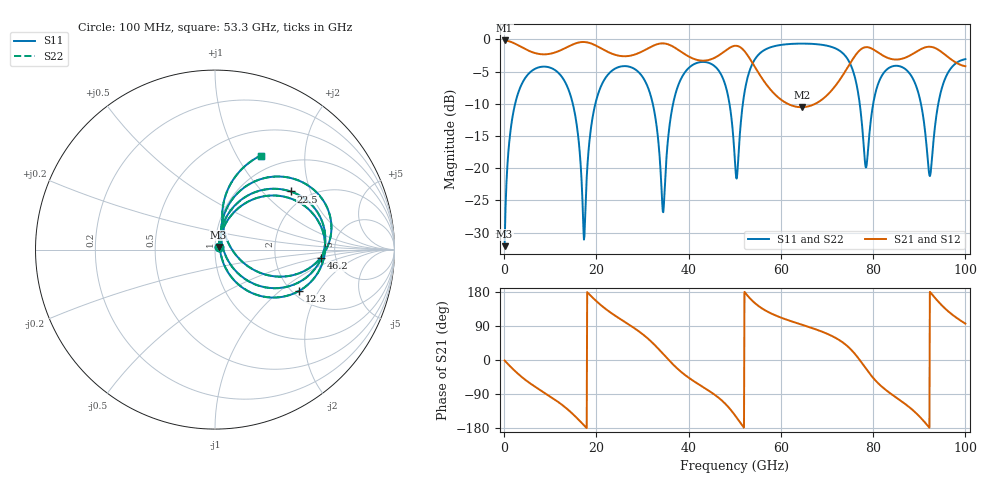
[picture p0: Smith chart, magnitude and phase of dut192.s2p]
! Touchstone file exported from HFSS 2026.1.0
!  File:  C:/ffzhzh/LocalFiles/Ansys_Project_Files/temp_test_TSV_RDL_192_1783478748_33644.aedt
!  Generated:  10:55:14 AM Jul  8, 2026
!  Design:  TSV_RDL
!  Project:  temp_test_TSV_RDL_192_1783478748_33644
! Variables:
!  h_bsmrdl = 4.98um
!  h_ox = 20um
!  h_rdl = 5um
!  h_sub = 65.85um
!  h_tmrdl = 3.84um
!  h_tsv = 65.85um
!  h_via = 3um
!  l_bsmrdl = 271.05um
!  l_sub = 3326.94um
!  l_tmrdl = 506.45um
!  m_sub = 200um
!  pitch = 52.58um
!  r_tsv = 11.38um
!  s_tmrdl = 10um
!  w_bsmrdl = 17.28um
!  w_sub = 500um
!  w_tmrdl = 12.05um
!  x_tsv_center1 = 512.475um
!  x_tsv_center2 = 800.805um
!  x_tsv_center3 = 1319.305um
!  x_tsv_center4 = 1607.635um
!  x_tsv_center5 = 2126.135um
!  x_tsv_center6 = 2414.465um
# GHz S MA R 50.000000
! Terminal data exported
! Port[1] = TM_RDL1_1_T1
! Port[2] = TM_RDL5_1_T1
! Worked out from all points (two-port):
!   1000 points, 100 MHz to 100 GHz, reference 50 ohm
!   highest |S21| = -0.17 dB at 100 MHz (marker M1); lowest = -10.5 dB at 64.5 GHz (marker M2)
!   |S21| within 3 dB of the highest: start of sweep to 41.73 GHz; 75.5 GHz to 97.03 GHz (21.52 GHz wide, 24.9 % of centre) (the widest 2 of 3)
!   lowest |S11| = -32.1 dB at 100 MHz (marker M3), VSWR 1.05, Z = 52 + j1.53 ohm
!   |S11| at or under -10 dB: 14.88 GHz to 19.77 GHz (4.891 GHz wide, 28.2 % of centre); 32.22 GHz to 36.63 GHz (4.406 GHz wide, 12.8 % of centre); 90.36 GHz to 94.12 GHz (3.757 GHz wide, 4.07 % of centre) (the widest 3 of 6)
!   |S22| runs from -32.1 to -0.7 dB; largest |S21 - S12| = 5.1e-13
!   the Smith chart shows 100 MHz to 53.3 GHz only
!   S11 on the Smith chart (normalised r, x): 100 MHz: 1.04, +0.03; 12.3 GHz: 2.18, -1.38; 22.5 GHz: 1.63, +1.48; 46.2 GHz: 3.81, -0.53; 53.3 GHz: 0.80, +1.26
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0.1  0.0248 36.4  0.9803 -1.3  0.9803 -1.3  0.0248 36.4
! Gamma 0 0 0 0
! Port Impedance 50 0 50 0
3.3  0.4072 47.0  0.8888 -39.5  0.8888 -39.5  0.4072 47.0
12.3  0.5233 -26.0  0.8241 -116.0  0.8241 -116.0  0.5233 -25.9
16.8  0.07864 -56.8  0.9528 -165.8  0.9528 -165.8  0.07885 -56.4
22.5  0.532 37.5  0.7984 130.2  0.7984 130.2  0.5321 37.4
29.8  0.5235 -18.2  0.8016 70.2  0.8016 70.2  0.5234 -18.3
33.4  0.1654 -45.9  0.9212 30.1  0.9212 30.1  0.1652 -46.1
34.5  0.04549 21.6  0.9302 15.6  0.9302 15.6  0.04476 21.7
38.8  0.5285 50.4  0.7817 -35.6  0.7817 -35.6  0.5285 50.4
46.2  0.591 -4.4  0.738 -96.8  0.738 -96.8  0.5909 -4.4
50.1  0.1045 -7.2  0.8914 -146.9  0.8914 -146.9  0.1044 -7.2
53.3  0.582 64.1  0.7041 162.6  0.7041 162.6  0.5821 64.1
64.5  0.9266 2.8  0.2974 93.3  0.2974 93.3  0.9267 2.8
66.7  0.9225 -5.1  0.3077 84.5  0.3077 84.5  0.9225 -5.2
74.3  0.7174 -46.1  0.5911 37.9  0.5911 37.9  0.7175 -46.1
77.6  0.2148 -69.5  0.8497 -8.6  0.8497 -8.6  0.2153 -69.2
78.6  0.1063 -5.1  0.8702 -25.5  0.8702 -25.5  0.1074 -5.3
83.4  0.5993 2.2  0.7126 -85.1  0.7126 -85.1  0.5993 2.1
89.1  0.4552 -40.8  0.7905 -137.8  0.7905 -137.8  0.455 -41.0
92.2  0.08808 -9.7  0.8763 -178.7  0.8763 -178.7  0.08707 -9.8
95.2  0.4532 40.6  0.7796 140.4  0.7796 140.4  0.4531 40.7
100  0.7019 4.7  0.6181 95.8  0.6181 95.8  0.7019 4.6
